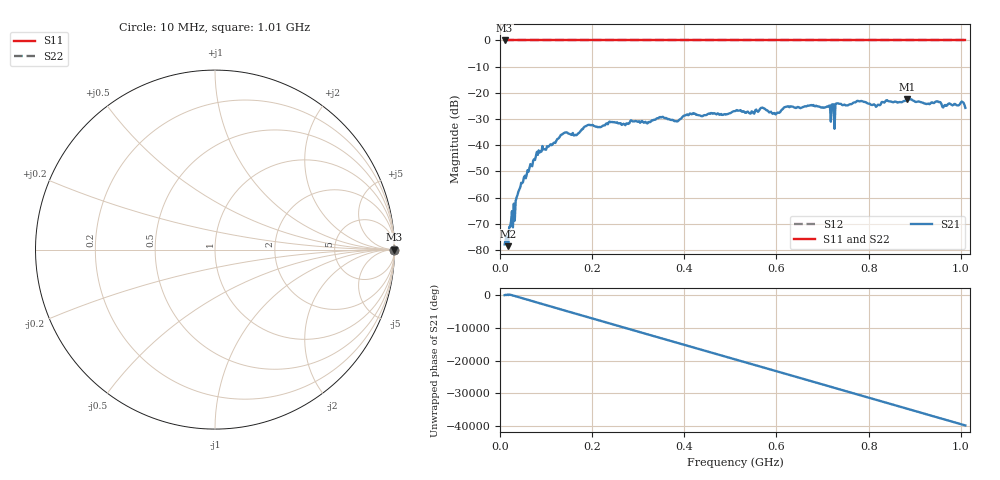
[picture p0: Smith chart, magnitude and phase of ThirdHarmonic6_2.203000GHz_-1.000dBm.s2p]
! 8/17/2025 2:15:27 AM
! C:\ANRITSUVNA\TEMP\TEMP.S2P
! CHANNEL.1
! TR.MEASUREMENT
! RAW.DATA
! RF.CORRECTION.OFF
! AVERAGING.OFF
! IF.BANDWIDTH: 5KHZ
! SWEEPTYPE:  FREQ.SWEEP(Linear)
! Reference Plane Port Info
! PORT:  PORT1  PORT2
! DISTANCE:  0  m  0  m
! TIME:  0  s  0  s
! PHASE.OFFSET:  0  deg.  0  deg.
! LOSS:  0  dB  0  dB
! REF.LOSS:  0  dB  0  dB
! REF.FREQ:  0  Hz  0  Hz
! Power Info
! POWER:  -20  dBm  -20  dBm
! EFF.POWER:  -20  dBm  -20  dBm
! SOURCE.ATTEN:  0  dB  0  dB
! TEST.ATTEN:  0  dB  0  dB
# GHZ S RI R 50.0
! FREQ.GHZ  S11RE  S11IM  S21RE  S21IM  S12RE  S12IM  S22RE  S22IM
!; PortSelection: Port_12
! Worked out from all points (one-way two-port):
!   501 points, 10 MHz to 1.01 GHz, reference 50 ohm
!   highest |S21| = -22.38 dB at 884 MHz (marker M1); lowest = -78.5 dB at 18 MHz (marker M2)
!   lowest |S11| = 0.0 dB at 10 MHz (marker M3)
!   |S11| at or under -10 dB: nowhere
!   |S22| runs from 0.0 to 0.0 dB; largest |S21 - S12| = 1.1
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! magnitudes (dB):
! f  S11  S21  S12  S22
! 10 MHz  0.0  -77.8  0.0  0.0
! 18 MHz  0.0  -78.5  0.0  0.0
! 42 MHz  0.0  -56.8  0.0  0.0
! 82 MHz  0.0  -43.7  0.0  0.0
! 138 MHz  0.0  -35.4  0.0  0.0
! 164 MHz  0.0  -36.0  0.0  0.0
! 178 MHz  0.0  -33.8  0.0  0.0
! 344 MHz  0.0  -29.6  0.0  0.0
! 382 MHz  0.0  -30.8  0.0  0.0
! 416 MHz  0.0  -28.2  0.0  0.0
! 510 MHz  0.0  -27.0  0.0  0.0
! 570 MHz  0.0  -25.7  0.0  0.0
! 596 MHz  0.0  -27.7  0.0  0.0
! 622 MHz  0.0  -25.3  0.0  0.0
! 678 MHz  0.0  -24.8  0.0  0.0
! 712 MHz  0.0  -25.3  0.0  0.0
! 722 MHz  0.0  -24.4  0.0  0.0
! 732 MHz  0.0  -24.0  0.0  0.0
! 820 MHz  0.0  -24.5  0.0  0.0
! 844 MHz  0.0  -23.2  0.0  0.0
! 884 MHz  0.0  -22.4  0.0  0.0
! 1.01 GHz  0.0  -25.7  0.0  0.0
